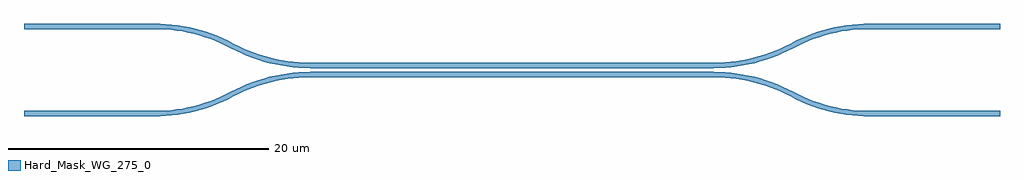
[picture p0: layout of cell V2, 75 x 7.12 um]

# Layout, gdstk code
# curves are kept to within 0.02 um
import gdstk
lib = gdstk.Library(unit=1e-6, precision=1e-09)
def R(c, l, rs):  # rectangles x0, y0, x1, y1
    for r in rs: c.add(gdstk.rectangle(r[:2], r[2:], *l))
def P(c, l, *ps):  # polygons
    for p in ps: c.add(gdstk.Polygon(p, *l))
Hard_Mask_WG_275_0 = (275, 0)

c_v2 = lib.new_cell('V2')
R(c_v2, Hard_Mask_WG_275_0, [(0,0,10,0.41), (65,0,75,0.41), (22,3,53,3.41), (22,3.71,53,4.12), (0,6.71,10,7.12), (65,6.71,75,7.12)])
P(c_v2, Hard_Mask_WG_275_0, [(65,0),(63.644,0.07),(62.746,0.197),(61.859,0.386),(60.558,0.784),(59.718,1.125),(58.904,1.524),(59.096,1.886),(60.288,1.327),(61.113,1.026),(61.957,0.784),(62.816,0.601),(63.686,0.478),(65,0.41)],
  [(58.904,1.524),(57.712,2.083),(56.887,2.384),(56.043,2.626),(55.184,2.809),(54.314,2.932),(53,3),(53,3.41),(54.356,3.34),(55.254,3.213),(56.141,3.024),(57.013,2.774),(57.865,2.463),(59.096,1.886)],
  [(59.096,5.234),(58.904,5.596),(60.133,6.172),(60.985,6.483),(61.857,6.734),(62.744,6.923),(63.642,7.05),(65,7.12),(65,6.71),(64.124,6.681),(63.251,6.589),(61.958,6.337),(61.114,6.094),(60.289,5.793)],
  [(53,3.71),(53,4.12),(53.876,4.149),(54.749,4.241),(56.042,4.493),(56.886,4.736),(57.711,5.037),(58.904,5.596),(59.096,5.234),(57.867,4.658),(57.015,4.347),(56.143,4.096),(55.256,3.907),(54.358,3.78)],
  [(16.096,1.524),(15.904,1.886),(17.133,2.462),(17.985,2.773),(18.857,3.024),(19.744,3.213),(20.642,3.34),(22,3.41),(22,3),(21.124,2.971),(20.251,2.879),(18.958,2.627),(18.114,2.384),(17.289,2.083)],
  [(10,0),(10,0.41),(10.876,0.439),(11.749,0.531),(13.042,0.783),(13.886,1.026),(14.711,1.327),(15.904,1.886),(16.096,1.524),(14.867,0.948),(14.015,0.637),(13.143,0.386),(12.256,0.197),(11.358,0.07)],
  [(22,3.71),(20.644,3.78),(19.746,3.907),(18.859,4.096),(17.558,4.494),(16.718,4.835),(15.904,5.234),(16.096,5.596),(17.288,5.037),(18.113,4.736),(18.957,4.494),(19.816,4.311),(20.686,4.188),(22,4.12)],
  [(15.904,5.234),(14.712,5.793),(13.887,6.094),(13.043,6.336),(12.184,6.519),(11.314,6.642),(10,6.71),(10,7.12),(11.356,7.05),(12.254,6.923),(13.141,6.734),(14.013,6.484),(14.865,6.173),(16.096,5.596)])

lib.write_gds('V2.gds')
